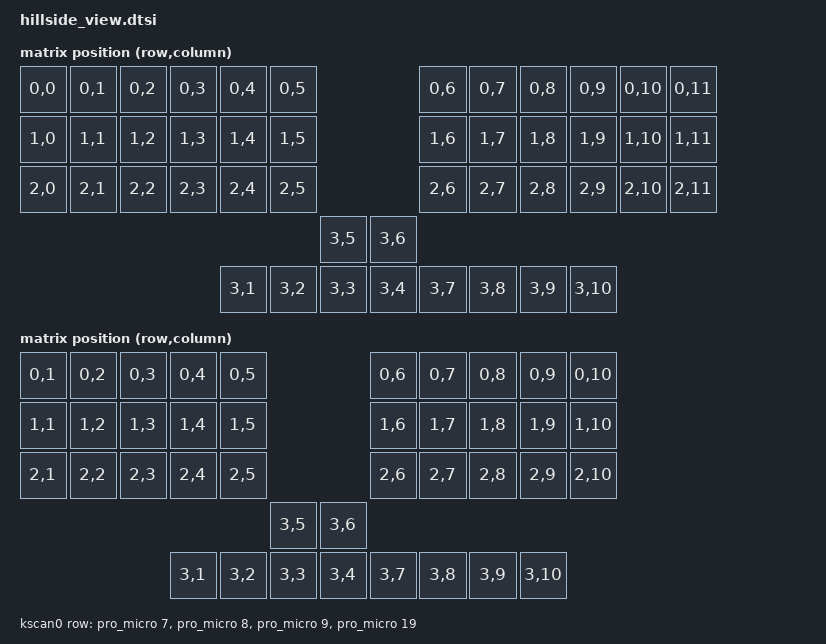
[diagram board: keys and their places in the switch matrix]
/*
 * Copyright (c) 2022 The ZMK Contributors
 *
 * SPDX-License-Identifier: MIT
 */

#include <dt-bindings/zmk/matrix_transform.h>
#include <dt-bindings/led/led.h>

/ {
	chosen: chosen {
		zmk,kscan = &kscan0;
		zmk,matrix_transform = &default_transform;
		zmk,underglow = &underglow;
	};

	default_transform: keymap_transform_0 {
		compatible = "zmk,matrix-transform";
		columns = <12>;
		rows = <4>;
// | SW1  | SW2  | SW3  | SW4  | SW5  | SW6  |                                 | SW6  | SW5  | SW4  | SW3  | SW2  | SW1  |
// | SW7  | SW8  | SW9  | SW10 | SW11 | SW12 |                                 | SW12 | SW11 | SW10 | SW9  | SW8  | SW7  |
// | SW13 | SW14 | SW15 | SW16 | SW17 | SW18 |                                 | SW18 | SW17 | SW16 | SW15 | SW14 | SW13 |
//                                           | SW19 |                   | SW19 |
//                             | SW20 | SW21 | SW22 | SW23 |     | SW23 | SW22 | SW21 | SW20 |
		map = <
RC(0,0) RC(0,1) RC(0,2) RC(0,3) RC(0,4) RC(0,5)                                       RC(0,6) RC(0,7) RC(0,8) RC(0,9) RC(0,10) RC(0,11)
RC(1,0) RC(1,1) RC(1,2) RC(1,3) RC(1,4) RC(1,5)                                       RC(1,6) RC(1,7) RC(1,8) RC(1,9) RC(1,10) RC(1,11)
RC(2,0) RC(2,1) RC(2,2) RC(2,3) RC(2,4) RC(2,5)                                       RC(2,6) RC(2,7) RC(2,8) RC(2,9) RC(2,10) RC(2,11)
                                                RC(3,5)                       RC(3,6)
                                RC(3,1) RC(3,2) RC(3,3) RC(3,4)       RC(3,7) RC(3,8) RC(3,9) RC(3,10)
		>;
	};

	five_column_transform: keymap_transform_1 {
		compatible = "zmk,matrix-transform";
		columns = <10>;
		rows = <4>;
// | SW2  | SW3  | SW4  | SW5  | SW6  |                                 | SW6  | SW5  | SW4  | SW3  | SW2  |
// | SW8  | SW9  | SW10 | SW11 | SW12 |                                 | SW12 | SW11 | SW10 | SW9  | SW8  |
// | SW14 | SW15 | SW16 | SW17 | SW18 |                                 | SW18 | SW17 | SW16 | SW15 | SW14 |
//                                    | SW19 |                   | SW19 |
//                      | SW20 | SW21 | SW22 | SW23 |     | SW23 | SW22 | SW21 | SW20 |
		map = <
RC(0,1) RC(0,2) RC(0,3) RC(0,4) RC(0,5)                                       RC(0,6) RC(0,7) RC(0,8) RC(0,9) RC(0,10)
RC(1,1) RC(1,2) RC(1,3) RC(1,4) RC(1,5)                                       RC(1,6) RC(1,7) RC(1,8) RC(1,9) RC(1,10)
RC(2,1) RC(2,2) RC(2,3) RC(2,4) RC(2,5)                                       RC(2,6) RC(2,7) RC(2,8) RC(2,9) RC(2,10)
                                        RC(3,5)                       RC(3,6)
                        RC(3,1) RC(3,2) RC(3,3) RC(3,4)       RC(3,7) RC(3,8) RC(3,9) RC(3,10)
		>;
	};

	kscan0: kscan {
		compatible = "zmk,kscan-gpio-matrix";
		label = "KSCAN";

		diode-direction = "col2row";
		row-gpios
			= <&pro_micro 7 (GPIO_ACTIVE_HIGH | GPIO_PULL_DOWN)>
			, <&pro_micro 8 (GPIO_ACTIVE_HIGH | GPIO_PULL_DOWN)>
			, <&pro_micro 9 (GPIO_ACTIVE_HIGH | GPIO_PULL_DOWN)>
			, <&pro_micro 19 (GPIO_ACTIVE_HIGH | GPIO_PULL_DOWN)>
			;
		
	};

	sensors {
		compatible = "zmk,keymap-sensors";
		sensors = <&left_encoder &right_encoder>;
	};

  trackballs {
    compatible = "zmk,keymap-trackballs";
    trackballs = <&trackball>;
  };

	left_encoder: encoder_left {
		status = "disabled";
		compatible = "alps,ec11";
		label = "LEFT_ENCODER";
		resolution = <4>;
	};

	right_encoder: encoder_right {
		status = "disabled";
		compatible = "alps,ec11";
		label = "RIGHT_ENCODER";
		resolution = <4>;
	};
};

&spi0 {
  compatible = "nordic,nrf-spim";
  status = "disabled";

  trackball: trackball@0 {
    compatible = "pixart,pmw3610";
    status = "disabled";
    reg = <0>;
    label = "TRACKBALL";
    spi-max-frequency = <2000000>;
    duplex = <2048>; // required by 3-wire spi
  };

	nice_view: ls0xx@0 {
		compatible = "sharp,ls0xx";
		label = "DISPLAY";
		spi-max-frequency = <1000000>;
		reg = <0>;
		width = <160>;
		height = <68>;
	};
};

&spi1 {
	compatible = "nordic,nrf-spim";
	status = "okay";

	mosi-pin = <6>;
	// Unused pins, needed for SPI definition, but not used by the ws2812 driver itself.
	sck-pin = <5>;
	miso-pin = <7>;

	underglow: ws2812@0 {
		compatible = "worldsemi,ws2812-spi";
		label = "UNDERGLOW";

		/* SPI */
		reg = <0>; /* ignored, but necessary for SPI bindings */
		spi-max-frequency = <4000000>;

		/* WS2812 */
		chain-length = <4>; /* arbitrary; change at will */
		spi-one-frame = <0x70>;
		spi-zero-frame = <0x40>;

		color-mapping = <LED_COLOR_ID_GREEN LED_COLOR_ID_RED LED_COLOR_ID_BLUE>;
	};
};
